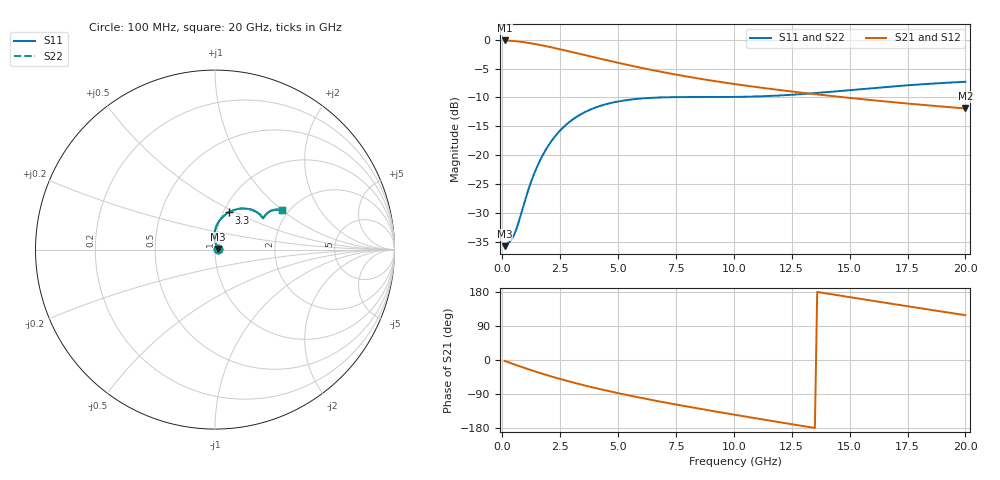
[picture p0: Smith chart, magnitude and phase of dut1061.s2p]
! Touchstone file exported from HFSS 2024.1.0
!  File:  C:/UserFiles/LocalFiles/RDL_TSV_Batchsim/temp_RDL_TSV_1061_1780091036.aedt
!  Generated:  05:57:04 AM May 30, 2026
!  Design:  RDL_TSV
!  Project:  temp_RDL_TSV_1061_1780091036
!  Setup:  Setup1
!  Solution:  Sweep
! Variables:
!  dtsv = 11.73um
!  hbump = 3um
!  htsv = 88.21um
!  ldown = 439.22um
!  lrdl = 498.45um
!  p = 40
!  p1 = 59.81um
!  rhole = 10um
!  subl = 3311.46um
!  t = 450um
!  tdown = 4.32um
!  trdl = 4.93um
!  viad = 10um
!  wdown = 22.63um
!  wrdl = 13.09um
!  xbump = 18um
# GHz S MA R 50.000000
! Terminal data exported
! Port[1] = TM1_1_T1
! Port[2] = TM1_4_T1
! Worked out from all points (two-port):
!   200 points, 100 MHz to 20 GHz, reference 50 ohm
!   highest |S21| = -0.15 dB at 100 MHz (marker M1); lowest = -11.9 dB at 20 GHz (marker M2)
!   |S21| within 3 dB of the highest: start of sweep to 4.068 GHz
!   lowest |S11| = -35.7 dB at 100 MHz (marker M3), VSWR 1.03, Z = 51.6 + j0.351 ohm
!   |S11| at or under -10 dB: start of sweep to 6.803 GHz
!   |S22| runs from -35.7 to -7.3 dB; largest |S21 - S12| = 1.9e-13
!   S11 on the Smith chart (normalised r, x): 100 MHz: 1.03, +0.01; 3.3 GHz: 1.06, +0.46; 20 GHz: 1.83, +0.99
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0.1  0.0164 12.0  0.9833 -2.3  0.9833 -2.3  0.0164 12.0
! Gamma 0 0 0 0
! Port Impedance 50 0 50 0
0.4  0.01871 42.6  0.9759 -9.0  0.9759 -9.0  0.01871 42.6
0.5  0.0203 53.4  0.9721 -11.2  0.9721 -11.2  0.0203 53.4
0.7  0.02623 72.1  0.963 -15.5  0.963 -15.5  0.02623 72.1
1.1  0.04854 90.0  0.9389 -23.9  0.9389 -23.9  0.04854 90.0
1.3  0.06327 92.2  0.9246 -27.9  0.9246 -27.9  0.06327 92.2
1.5  0.07937 92.3  0.9092 -31.9  0.9092 -31.9  0.07938 92.3
1.8  0.1049 90.2  0.8847 -37.6  0.8847 -37.6  0.1049 90.2
2.1  0.1308 86.6  0.8592 -43.1  0.8592 -43.1  0.1308 86.6
2.5  0.1639 81.1  0.8247 -50.1  0.8247 -50.1  0.164 81.1
3.3  0.2208 69.8  0.7568 -63.2  0.7568 -63.2  0.2208 69.8
3.5  0.2325 67.2  0.7405 -66.3  0.7405 -66.3  0.2326 67.2
4.3  0.2701 57.8  0.6789 -77.9  0.6789 -77.9  0.2702 57.8
5.1  0.2944 50.1  0.624 -88.7  0.624 -88.7  0.2944 50.1
5.9  0.3085 44.2  0.576 -98.8  0.576 -98.8  0.3086 44.2
6.8  0.3162 39.3  0.5296 -109.5  0.5296 -109.5  0.3164 39.2
8.4  0.319 34.3  0.4638 -127.3  0.4638 -127.3  0.3192 34.2
10.1  0.3198 32.9  0.4111 -145.2  0.4111 -145.2  0.32 32.8
11.7  0.3269 33.5  0.3725 -161.5  0.3725 -161.5  0.3271 33.4
13.4  0.3436 34.6  0.3394 -178.4  0.3394 -178.4  0.3438 34.5
16.7  0.3913 34.3  0.2901 149.5  0.2901 149.5  0.3912 34.1
20  0.432 30.7  0.2541 118.3  0.2541 118.3  0.4318 30.6
